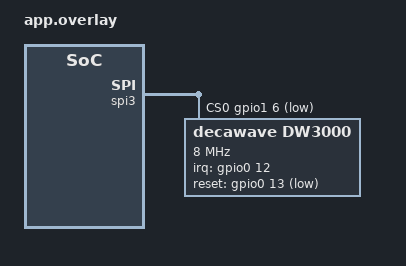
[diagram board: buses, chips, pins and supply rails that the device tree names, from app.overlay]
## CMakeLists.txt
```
cmake_minimum_required(VERSION 3.20.0)

list(APPEND ZEPHYR_EXTRA_MODULES ${CMAKE_CURRENT_SOURCE_DIR}/../zephyr-dw3000-decadriver)

find_package(Zephyr REQUIRED HINTS $ENV{ZEPHYR_BASE})

project(dwm_anchor)

target_sources(app PRIVATE src/main.c)
```

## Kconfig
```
source "Kconfig.zephyr"

config ANCHOR_ID
	int "Anchor ID (0, 1, 2, or 3)"
	default 0
	range 0 3
	help
	  Unique identifier for this anchor board. Each anchor in the system
	  must have a different ID. Used by the tag to address individual anchors
	  during DS-TWR ranging.
```

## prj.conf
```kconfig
# --- DW3000 UWB Driver ---
CONFIG_DW3000=y
CONFIG_DW3000_CHIP_DW3000=y

# --- SPI & GPIO (required by DW3000 driver) ---
CONFIG_SPI=y
CONFIG_GPIO=y

# --- Logging ---
CONFIG_LOG=y
CONFIG_USE_SEGGER_RTT=y
CONFIG_LOG_BACKEND_RTT=y

# --- Anchor ID (override per board: west build -- -DCONFIG_ANCHOR_ID=1) ---
CONFIG_ANCHOR_ID=0
```

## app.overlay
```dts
/* app.overlay — DW3000 UWB transceiver on SPI3 (DWM3001CDK) */

&spi3 {
    compatible = "nordic,nrf-spim";
    status = "okay";

    cs-gpios = <&gpio1 6 GPIO_ACTIVE_LOW>;

    dw3000@0 {
        compatible = "decawave,dw3000";
        reg = <0>;
        spi-max-frequency = <8000000>;
        irq-gpios = <&gpio0 12 GPIO_ACTIVE_HIGH>;
        reset-gpios = <&gpio0 13 GPIO_ACTIVE_LOW>;
    };
};
```

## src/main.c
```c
// SPDX-License-Identifier: MIT
// (c) 2025-2026 Christopher Liu
//
// DWM Anchor — SS-TWR responder, based on Qorvo ex_06b_ss_twr_responder.
//
// Each anchor is identified by CONFIG_ANCHOR_ID (0, 1, or 2).
// Flash with: west build -- -DCONFIG_ANCHOR_ID=<n>

#include <deca_device_api.h>
#include <deca_probe_interface.h>
#include <dw3000_hw.h>
#include <zephyr/kernel.h>
#include <zephyr/logging/log.h>

LOG_MODULE_REGISTER(anchor, LOG_LEVEL_INF);

// Must match tag exactly
static dwt_config_t uwb_config = {
    .chan = 5,
    .txPreambLength = DWT_PLEN_128,
    .rxPAC = DWT_PAC8,
    .txCode = 9,
    .rxCode = 9,
    .sfdType = DWT_SFD_DW_8,
    .dataRate = DWT_BR_6M8,
    .phrMode = DWT_PHRMODE_STD,
    .phrRate = DWT_PHRRATE_STD,
    .sfdTO = (128 + 1 + 8 - 8),
    .stsMode = DWT_STS_MODE_OFF,
    .stsLength = DWT_STS_LEN_64,
    .pdoaMode = DWT_PDOA_M0,
};

// Frame format — matches SDK ex_06b exactly
// Poll:     [FC 0x41 0x88] [seq] [PAN 0xCA 0xDE] [dst 2B] [src 2B] [func 0xE0]
// Response: [FC 0x41 0x88] [seq] [PAN 0xCA 0xDE] [dst 2B] [src 2B] [func 0xE1]
//           [poll_rx_ts 4B] [resp_tx_ts 4B]
// + 2B CRC auto-appended

#define FUNC_POLL 0xE0
#define FUNC_RESP 0xE1

#define ALL_MSG_SN_IDX          2
#define RESP_MSG_POLL_RX_TS_IDX 10
#define RESP_MSG_RESP_TX_TS_IDX 14

// Per-anchor antenna delay (calibrated against a reference tag). Anchor 0 is
// the "golden" reference and stays at nominal 16385; tags are calibrated
// against it. Anchors 1 and 2 absorb their own residual bias relative to
// anchor 0, and those values are tag-independent.
#if CONFIG_ANCHOR_ID == 0
  #define TX_ANT_DLY 16385
  #define RX_ANT_DLY 16385
#elif CONFIG_ANCHOR_ID == 1
  #define TX_ANT_DLY 16385
  #define RX_ANT_DLY 16385
#elif CONFIG_ANCHOR_ID == 2
  #define TX_ANT_DLY 16385
  #define RX_ANT_DLY 16385
#elif CONFIG_ANCHOR_ID == 3
  #define TX_ANT_DLY 16385
  #define RX_ANT_DLY 16385
#else
  #error "CONFIG_ANCHOR_ID must be 0, 1, 2, or 3"
#endif

// Delay from poll RX to response TX — SDK uses 650 at 38MHz SPI, we need more at 8MHz
#define POLL_RX_TO_RESP_TX_DLY_UUS 1500

#define UUS_TO_DWT_TIME 63898

// Address format:
//   Poll (incoming):  dst[0]=anchor ID, dst[1]='A', src[0]=TILE_ID, src[1]='G'
//   Resp (outgoing):  dst[0]=TILE_ID,   dst[1]='G', src[0]=anchor ID, src[1]='A'
// The anchor only responds to polls where dst[0] matches its own ID, and
// echoes the tile ID from src[0] into the response dst[0] so tags can reject
// responses meant for other tiles.
#define ADDR_DST_IDX 5
#define ADDR_SRC_IDX 7
static uint8_t tx_resp_msg[] = {
    0x41, 0x88, 0, 0xCA, 0xDE, 0, 'G', 0, 'A', FUNC_RESP, 0, 0, 0, 0, 0, 0, 0, 0, 0, 0};

#define ALL_MSG_COMMON_LEN 5  // Only validate FC + PAN (skip addresses)

#define RX_BUF_LEN 24  // Must fit any frame (poll=12, response=20, +CRC)
static uint8_t rx_buffer[RX_BUF_LEN];

static uint8_t frame_seq_nb = 0;
static uint32_t status_reg = 0;

static uint64_t poll_rx_ts;
static uint64_t resp_tx_ts;

static uint64_t get_rx_timestamp_u64(void) {
  uint8_t ts[5];
  dwt_readrxtimestamp(ts, DWT_COMPAT_NONE);
  return ((uint64_t)ts[0]) | ((uint64_t)ts[1] << 8) | ((uint64_t)ts[2] << 16) |
         ((uint64_t)ts[3] << 24) | ((uint64_t)ts[4] << 32);
}

static void resp_msg_set_ts(uint8_t* ts_field, uint64_t ts) {
  ts_field[0] = (uint8_t)ts;
  ts_field[1] = (uint8_t)(ts >> 8);
  ts_field[2] = (uint8_t)(ts >> 16);
  ts_field[3] = (uint8_t)(ts >> 24);
}

int main(void) {
  LOG_INF("DWM Anchor %d starting (TX_ANT_DLY=%d, RX_ANT_DLY=%d)...",
      CONFIG_ANCHOR_ID,
      TX_ANT_DLY,
      RX_ANT_DLY);

  dw3000_hw_init();
  dw3000_hw_reset();
  k_sleep(K_MSEC(10));

  if (dwt_probe((struct dwt_probe_s*)&dw3000_probe_interf) != DWT_SUCCESS) {
    LOG_ERR("dwt_probe failed");
    return -1;
  }

  if (dwt_initialise(DWT_DW_INIT | DWT_READ_OTP_PID | DWT_READ_OTP_LID |
                     DWT_READ_OTP_BAT | DWT_READ_OTP_TMP) != DWT_SUCCESS) {
    LOG_ERR("dwt_initialise failed");
    return -1;
  }

  dwt_setleds(DWT_LEDS_ENABLE | DWT_LEDS_INIT_BLINK);

  if (dwt_configure(&uwb_config) != DWT_SUCCESS) {
    LOG_ERR("dwt_configure failed");
    return -1;
  }

  static dwt_txconfig_t txconfig = {0x34, 0xfdfdfdfd, 0x0};
  dwt_configuretxrf(&txconfig);

  dwt_setrxantennadelay(RX_ANT_DLY);
  dwt_settxantennadelay(TX_ANT_DLY);

  dwt_setlnapamode(DWT_LNA_ENABLE | DWT_PA_ENABLE);

  // Set this anchor's ID in the response frame src address
  tx_resp_msg[7] = CONFIG_ANCHOR_ID;

  LOG_INF("Anchor %d ready (SS-TWR). Listening...", CONFIG_ANCHOR_ID);

  while (1) {
    dwt_rxenable(DWT_START_RX_IMMEDIATE);

    while (!((status_reg = dwt_readsysstatuslo()) &
             (DWT_INT_RXFCG_BIT_MASK | SYS_STATUS_ALL_RX_TO | SYS_STATUS_ALL_RX_ERR))) {
    }

    if (status_reg & DWT_INT_RXFCG_BIT_MASK) {
      uint16_t frame_len;

      dwt_writesysstatuslo(DWT_INT_RXFCG_BIT_MASK);

      frame_len = dwt_getframelength(NULL);
      if (frame_len <= sizeof(rx_buffer)) {
        dwt_readrxdata(rx_buffer, frame_len, 0);

        rx_buffer[ALL_MSG_SN_IDX] = 0;
        // Check FC + PAN + addressed to this anchor + src magic + function code
        if (rx_buffer[0] == 0x41 && rx_buffer[1] == 0x88 && rx_buffer[3] == 0xCA &&
            rx_buffer[4] == 0xDE && rx_buffer[ADDR_DST_IDX] == CONFIG_ANCHOR_ID &&
            rx_buffer[ADDR_SRC_IDX + 1] == 'G' && rx_buffer[9] == FUNC_POLL) {
          // Echo the tile ID (poll src[0]) into response dst[0] so the tag
          // that sent this poll can match the response to itself.
          tx_resp_msg[ADDR_DST_IDX] = rx_buffer[ADDR_SRC_IDX];
          uint32_t resp_tx_time;
          int ret;

          poll_rx_ts = get_rx_timestamp_u64();

          resp_tx_time = (uint32_t)((poll_rx_ts + ((uint64_t)POLL_RX_TO_RESP_TX_DLY_UUS *
                                                      UUS_TO_DWT_TIME)) >>
                                    8);
          dwt_setdelayedtrxtime(resp_tx_time);

          resp_tx_ts = (((uint64_t)(resp_tx_time & 0xFFFFFFFEUL)) << 8) + TX_ANT_DLY;

          resp_msg_set_ts(&tx_resp_msg[RESP_MSG_POLL_RX_TS_IDX], poll_rx_ts);
          resp_msg_set_ts(&tx_resp_msg[RESP_MSG_RESP_TX_TS_IDX], resp_tx_ts);

          tx_resp_msg[ALL_MSG_SN_IDX] = frame_seq_nb;
          dwt_writetxdata(sizeof(tx_resp_msg), tx_resp_msg, 0);
          dwt_writetxfctrl(sizeof(tx_resp_msg), 0, 1);
          ret = dwt_starttx(DWT_START_TX_DELAYED);

          if (ret == DWT_SUCCESS) {
            while (!((status_reg = dwt_readsysstatuslo()) & DWT_INT_TXFRS_BIT_MASK)) {
            }
            dwt_writesysstatuslo(DWT_INT_TXFRS_BIT_MASK);
            frame_seq_nb++;
          } else {
            LOG_WRN("Resp TX late");
          }
        }
      }
    } else {
      dwt_writesysstatuslo(SYS_STATUS_ALL_RX_TO | SYS_STATUS_ALL_RX_ERR);
    }
  }

  return 0;
}
```
